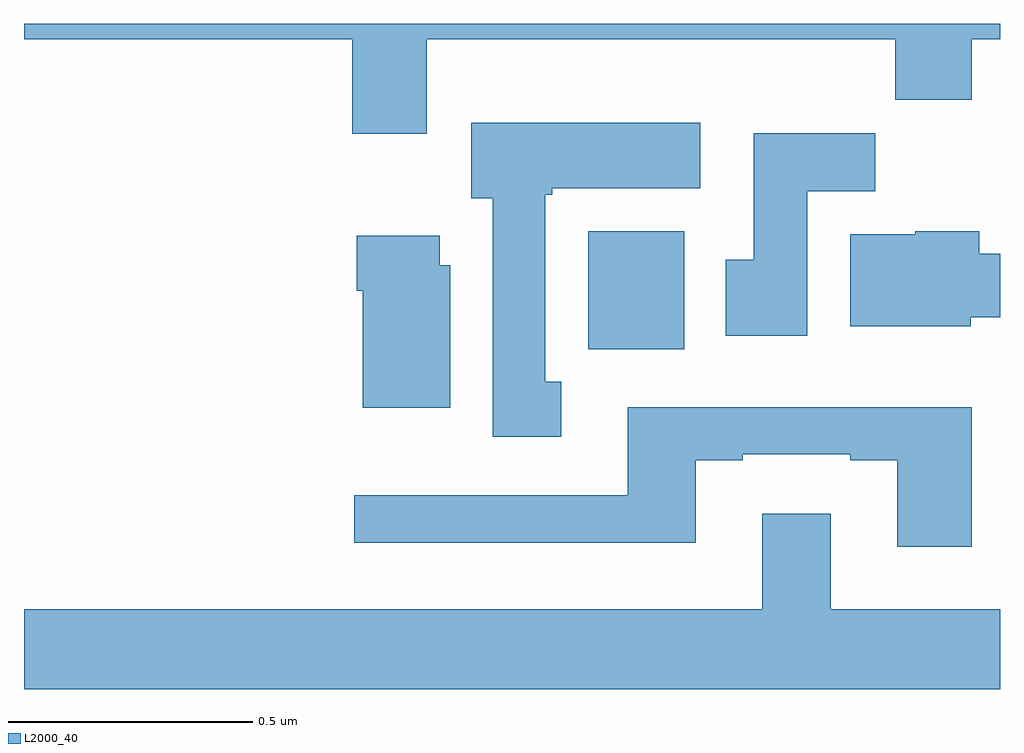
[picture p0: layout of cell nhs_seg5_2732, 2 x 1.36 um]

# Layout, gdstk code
import gdstk
lib = gdstk.Library(unit=1e-6, precision=1e-09)
def R(c, l, rs):  # rectangles x0, y0, x1, y1
    for r in rs: c.add(gdstk.rectangle(r[:2], r[2:], *l))
def P(c, l, *ps):  # polygons
    for p in ps: c.add(gdstk.Polygon(p, *l))
L2000_40 = (2000, 40)

nhs_seg5_2732 = lib.new_cell('nhs_seg5_2732')
R(nhs_seg5_2732, L2000_40, [(149.156,848.132,149.353,848.374)])
P(nhs_seg5_2732, L2000_40, [(148.825,848.768),(149.785,848.768),(149.785,848.644),(149.942,848.644),(149.942,848.768),(150,848.768),(150,848.799),(148,848.799),(148,848.768),(148.673,848.768),(148.673,848.574),(148.825,848.574)],
  [(149.101,848.066),(149.068,848.066),(149.068,848.449),(149.082,848.449),(149.082,848.462),(149.386,848.462),(149.386,848.596),(148.916,848.596),(148.916,848.442),(148.961,848.442),(148.961,847.953),(149.101,847.953)],
  [(149.605,848.456),(149.744,848.456),(149.744,848.575),(149.495,848.575),(149.495,848.316),(149.438,848.316),(149.438,848.16),(149.605,848.16)],
  [(149.94,848.198),(150,848.198),(150,848.328),(149.957,848.328),(149.957,848.374),(149.826,848.374),(149.826,848.368),(149.693,848.368),(149.693,848.18),(149.94,848.18)],
  [(148.873,848.304),(148.852,848.304),(148.852,848.365),(148.682,848.365),(148.682,848.252),(148.694,848.252),(148.694,848.012),(148.873,848.012)],
  [(149.942,848.014),(149.237,848.014),(149.237,847.833),(148.677,847.833),(148.677,847.736),(149.377,847.736),(149.377,847.905),(149.473,847.905),(149.473,847.917),(149.693,847.917),(149.693,847.905),(149.789,847.905),(149.789,847.728),(149.942,847.728)],
  [(150,847.6),(149.653,847.6),(149.653,847.795),(149.513,847.795),(149.513,847.6),(148,847.6),(148,847.436),(150,847.436)])

lib.write_gds('nhs_seg5_2732.gds')
